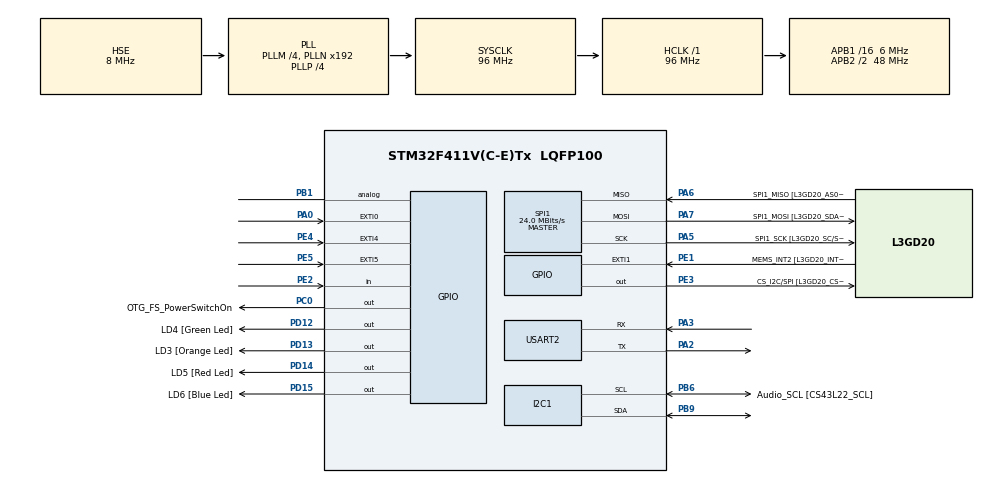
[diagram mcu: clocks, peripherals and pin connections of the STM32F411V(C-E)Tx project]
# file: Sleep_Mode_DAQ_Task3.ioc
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Mcu.Family=STM32F4
Mcu.Name=STM32F411V(C-E)Tx
Mcu.Package=LQFP100
NVIC.EXTI0_IRQn=true\:0\:0\:false\:false\:true\:true
NVIC.EXTI4_IRQn=true\:0\:0\:false\:false\:true\:true
NVIC.PriorityGroup=NVIC_PRIORITYGROUP_1
NVIC.TIM2_IRQn=true\:1\:0\:true\:false\:true\:true
NVIC.TIM3_IRQn=true\:1\:0\:true\:false\:true\:true
NVIC.TIM4_IRQn=true\:1\:0\:true\:false\:true\:true
PA0-WKUP.Signal=GPXTI0
PA13.GPIO_Label=SWDIO
PA13.Signal=SYS_JTMS-SWDIO
PA14.GPIO_Label=SWCLK
PA14.Signal=SYS_JTCK-SWCLK
PA2.Mode=Asynchronous
PA2.Signal=USART2_TX
PA3.Mode=Asynchronous
PA3.Signal=USART2_RX
PA4.GPIO_Label=I2S3_WS [CS43L22_LRCK]
PA4.GPIO_Mode=GPIO_MODE_AF_PP
PA4.GPIO_PuPd=GPIO_NOPULL
PA4.GPIO_Speed=GPIO_SPEED_FREQ_LOW
PA4.Signal=I2S3_WS
PA5.GPIO_Label=SPI1_SCK [L3GD20_SC/SPC]
PA5.Mode=Full_Duplex_Master
PA5.Signal=SPI1_SCK
PA6.GPIO_Label=SPI1_MISO [L3GD20_AS0/SDO]
PA6.Mode=Full_Duplex_Master
PA6.Signal=SPI1_MISO
PA7.GPIO_Label=SPI1_MOSI [L3GD20_SDA/SDI/SDO]
PA7.Mode=Full_Duplex_Master
PA7.Signal=SPI1_MOSI
PB1.Signal=GPIO_Analog
PB10.GPIO_Label=CLK_IN [MP45DT02_CLK]
PB10.Signal=I2S2_CK
PB12.Signal=I2S2_WS
PB3.GPIO_Label=SWO
PB3.Signal=SYS_JTDO-SWO
PB6.GPIO_Label=Audio_SCL [CS43L22_SCL]
PB6.GPIO_Mode=GPIO_MODE_AF_OD
PB6.GPIO_PuPd=GPIO_NOPULL
PB6.GPIO_Speed=GPIO_SPEED_FREQ_LOW
PB6.Mode=I2C
PB6.Signal=I2C1_SCL
PB9.Mode=I2C
PB9.Signal=I2C1_SDA
PC0.GPIO_Label=OTG_FS_PowerSwitchOn
PC0.PinState=GPIO_PIN_SET
PC0.Signal=GPIO_Output
PC14-OSC32_IN.GPIO_Label=PC14-OSC32_IN
PC14-OSC32_IN.Mode=LSE-External-Oscillator
PC14-OSC32_IN.Signal=RCC_OSC32_IN
PC15-OSC32_OUT.GPIO_Label=PC15-OSC32_OUT
PC15-OSC32_OUT.Mode=LSE-External-Oscillator
PC15-OSC32_OUT.Signal=RCC_OSC32_OUT
PC3.GPIO_Label=PDM_OUT [MP45DT02_DOUT]
PC3.Signal=I2S2_SD
PC7.GPIO_Label=I2S3_MCK [CS43L22_MCLK]
PC7.GPIO_Mode=GPIO_MODE_AF_PP
PC7.GPIO_PuPd=GPIO_NOPULL
PC7.GPIO_Speed=GPIO_SPEED_FREQ_LOW
PC7.Signal=I2S3_MCK
PD12.GPIO_Label=LD4 [Green Led]
PD12.GPIO_PuPd=GPIO_NOPULL
PD12.GPIO_Speed=GPIO_SPEED_FREQ_LOW
PD12.Signal=GPIO_Output
PD13.GPIO_Label=LD3 [Orange Led]
PD13.GPIO_PuPd=GPIO_NOPULL
PD13.GPIO_Speed=GPIO_SPEED_FREQ_LOW
PD13.Signal=GPIO_Output
PD14.GPIO_Label=LD5 [Red Led]
PD14.GPIO_PuPd=GPIO_NOPULL
PD14.GPIO_Speed=GPIO_SPEED_FREQ_LOW
PD14.Signal=GPIO_Output
PD15.GPIO_Label=LD6 [Blue Led]
PD15.GPIO_PuPd=GPIO_NOPULL
PD15.GPIO_Speed=GPIO_SPEED_FREQ_LOW
PD15.Signal=GPIO_Output
PE1.GPIO_Label=MEMS_INT2 [L3GD20_INT2]
PE1.GPIO_ModeDefaultEXTI=GPIO_MODE_EVT_RISING
PE1.Signal=GPXTI1
PE2.Signal=GPIO_Input
PE3.GPIO_Label=CS_I2C/SPI [L3GD20_CS_I2C/SPI]
PE3.Signal=GPIO_Output
PE4.GPIO_ModeDefaultEXTI=GPIO_MODE_IT_RISING
PE4.Signal=GPXTI4
PE5.GPIO_ModeDefaultEXTI=GPIO_MODE_EVT_RISING
PE5.Signal=GPXTI5
PH0\ -\ OSC_IN.GPIO_Label=PH0-OSC_IN
PH0\ -\ OSC_IN.Mode=HSE-External-Oscillator
PH0\ -\ OSC_IN.Signal=RCC_OSC_IN
PH1\ -\ OSC_OUT.GPIO_Label=PH1-OSC_OUT
PH1\ -\ OSC_OUT.Mode=HSE-External-Oscillator
PH1\ -\ OSC_OUT.Signal=RCC_OSC_OUT
ProjectManager.HeapSize=0x200
ProjectManager.StackSize=0x400
ProjectManager.TargetToolchain=SW4STM32
RCC.48MHZClocksFreq_Value=48000000
RCC.AHBFreq_Value=96000000
RCC.APB1CLKDivider=RCC_HCLK_DIV16
RCC.APB1Freq_Value=6000000
RCC.APB1TimFreq_Value=12000000
RCC.APB2CLKDivider=RCC_HCLK_DIV2
RCC.APB2Freq_Value=48000000
RCC.APB2TimFreq_Value=96000000
RCC.CortexFreq_Value=96000000
RCC.HCLKFreq_Value=96000000
RCC.HSE_VALUE=8000000
RCC.HSI_VALUE=16000000
RCC.PLLI2SM=5
RCC.PLLI2SN=200
RCC.PLLM=4
RCC.PLLP=RCC_PLLP_DIV4
RCC.PLLQ=8
RCC.PLLSourceVirtual=RCC_PLLSOURCE_HSE
RCC.RCC_RTC_Clock_Source_FROM_HSE=RCC_RTCCLKSOURCE_HSE_DIV30
RCC.SYSCLKFreq_VALUE=96000000
RCC.SYSCLKSource=RCC_SYSCLKSOURCE_PLLCLK
RCC.VCOOutputFreq_Value=384000000
RTC.Date=4
RTC.Format=RTC_FORMAT_BIN
RTC.Hours=17
RTC.Minutes=15
RTC.Month=RTC_MONTH_JULY
RTC.Seconds=12
RTC.StoreOperation=RTC_STOREOPERATION_RESET
RTC.SynchPrediv=250
SPI1.CalculateBaudRate=24.0 MBits/s
SPI1.Direction=SPI_DIRECTION_2LINES
SPI1.Mode=SPI_MODE_MASTER
SPI1.VirtualType=VM_MASTER
TIM2.Period=599999
TIM2.Prescaler=12000
TIM3.ClockDivision=TIM_CLOCKDIVISION_DIV1
TIM3.Period=60000
TIM3.Prescaler=60000
TIM4.ClockDivision=TIM_CLOCKDIVISION_DIV1
TIM4.Period=36000
TIM4.Prescaler=60000
USART2.VirtualMode=VM_ASYNC
VP_RTC_VS_RTC_Activate.Mode=RTC_Enabled
VP_RTC_VS_RTC_Calendar.Mode=RTC_Calendar
VP_TIM2_VS_ClockSourceINT.Mode=Internal
VP_TIM3_VS_ClockSourceINT.Mode=Internal
VP_TIM4_VS_ClockSourceINT.Mode=Internal
board=32F411EDISCOVERY

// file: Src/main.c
/**
  ******************************************************************************
  * @file           : main.c
  * @brief          : Main program body
  ******************************************************************************
  ** This notice applies to any and all portions of this file
  * that are not between comment pairs USER CODE BEGIN and
  * USER CODE END. Other portions of this file, whether
  * inserted by the user or by software development tools
  * are owned by their respective copyright owners.
  *
  * COPYRIGHT(c) 2018 STMicroelectronics
  *
  * Redistribution and use in source and binary forms, with or without modification,
  * are permitted provided that the following conditions are met:
  *   1. Redistributions of source code must retain the above copyright notice,
  *      this list of conditions and the following disclaimer.
  *   2. Redistributions in binary form must reproduce the above copyright notice,
  *      this list of conditions and the following disclaimer in the documentation
  *      and/or other materials provided with the distribution.
  *   3. Neither the name of STMicroelectronics nor the names of its contributors
  *      may be used to endorse or promote products derived from this software
  *      without specific prior written permission.
  *
  * THIS SOFTWARE IS PROVIDED BY THE COPYRIGHT HOLDERS AND CONTRIBUTORS "AS IS"
  * AND ANY EXPRESS OR IMPLIED WARRANTIES, INCLUDING, BUT NOT LIMITED TO, THE
  * IMPLIED WARRANTIES OF MERCHANTABILITY AND FITNESS FOR A PARTICULAR PURPOSE ARE
  * DISCLAIMED. IN NO EVENT SHALL THE COPYRIGHT HOLDER OR CONTRIBUTORS BE LIABLE
  * FOR ANY DIRECT, INDIRECT, INCIDENTAL, SPECIAL, EXEMPLARY, OR CONSEQUENTIAL
  * DAMAGES (INCLUDING, BUT NOT LIMITED TO, PROCUREMENT OF SUBSTITUTE GOODS OR
  * SERVICES; LOSS OF USE, DATA, OR PROFITS; OR BUSINESS INTERRUPTION) HOWEVER
  * CAUSED AND ON ANY THEORY OF LIABILITY, WHETHER IN CONTRACT, STRICT LIABILITY,
  * OR TORT (INCLUDING NEGLIGENCE OR OTHERWISE) ARISING IN ANY WAY OUT OF THE USE
  * OF THIS SOFTWARE, EVEN IF ADVISED OF THE POSSIBILITY OF SUCH DAMAGE.
  *
  ******************************************************************************
  */
#include "main.h"
#include "stm32f4xx_hal.h"
#include "i2c.h"
#include "rtc.h"
#include "spi.h"
#include "tim.h"
#include "usart.h"
#include "gpio.h"

/* USER CODE BEGIN Includes */
#include "LSM303DLHC.h"
/* USER CODE END Includes */

/* USER CODE BEGIN PV */
RTC_TimeTypeDef time;
RTC_DateTypeDef date;
LSM303_A_InitStruct acclInit;
LSM303_M_InitStruct magInit;
uint8_t FLAG = 0;

/* Private variables ---------------------------------------------------------*/

/* USER CODE END PV */

void SystemClock_Config(void);

/* USER CODE BEGIN PFP */
/* Private function prototypes -----------------------------------------------*/
void HAL_TIM_PeriodElapsedCallback(TIM_HandleTypeDef *htim){
	if (htim->Instance == TIM2)
	{
		HAL_RTC_GetTime(&hrtc, &time, RTC_FORMAT_BIN);
		HAL_RTC_GetDate(&hrtc, &date, RTC_FORMAT_BIN);

		HAL_GPIO_TogglePin(GPIOD, GPIO_PIN_12);
		//insert sensor reading here.
		//*
		printf("Z_A: %d.%d.%d, %d:%d:%d. AcclZ: %d \n\r", date.Date,date.Month, date.Year, time.Hours, time.Minutes, time.Seconds,
					LSM303_A_Read_Axis(acclInit.hi2c,acclInit.FS, z_a));
		//*/

	}
	if (htim->Instance == TIM3)
	{
		HAL_RTC_GetTime(&hrtc, &time, RTC_FORMAT_BIN);
		HAL_RTC_GetDate(&hrtc, &date, RTC_FORMAT_BIN);
		HAL_GPIO_TogglePin(GPIOD,GPIO_PIN_13);

		//*
		printf("Z_M: %d.%d.%d, %d:%d:%d. MagZ: %3.2f\n\r",date.Date, date.Month, date.Year, time.Hours, time.Minutes, time.Seconds,
							LSM303_M_Read_Axis(magInit.hi2c, magInit.GN, z_m));
		//*/
		//insert sensor reading here
	}
	if (htim->Instance == TIM4)
	{
		extern LSM303_M_InitStruct magInit;
		HAL_RTC_GetTime(&hrtc, &time, RTC_FORMAT_BIN);
		HAL_RTC_GetDate(&hrtc, &date, RTC_FORMAT_BIN);
		HAL_GPIO_TogglePin(GPIOD,GPIO_PIN_14);
		//*
			printf("Temp: %d.%d.%d, %d:%d:%d. Temp: %3.2f C\n\r",date.Date, date.Month, date.Year, time.Hours, time.Minutes, time.Seconds,
						LSM303_T_ReadTemp(magInit.hi2c));
		//*/
		//insert sensor reading here
	}

}

/* USER CODE END PFP */

int main(void)
{

  /* MCU Configuration----------------------------------------------------------*/

  /* Reset of all peripherals, Initializes the Flash interface and the Systick. */
  HAL_Init();

  /* Configure the system clock */
  SystemClock_Config();

  /* Initialize all configured peripherals */
  MX_GPIO_Init();
  MX_USART2_UART_Init();
  MX_TIM2_Init();
  MX_TIM3_Init();
  MX_TIM4_Init();
  MX_RTC_Init();
  MX_SPI1_Init();
  MX_I2C1_Init();
  /* USER CODE BEGIN 2 */
  acclInit = LSM303_A_CreateInitStruct(&hi2c1);
  acclInit.ODR = ODR_10HZ;
  acclInit.FS = FS_4G;
  LSM303_A_QuickInit(&acclInit);

  magInit = LSM303_M_CreateInitStruct(&hi2c1);
  magInit.DO = DO_15HZ;
  LSM303_M_Init(&magInit);

  LSM303_T_Init(magInit.hi2c);

  HAL_TIM_Base_Start_IT(&htim2);
  HAL_TIM_Base_Start_IT(&htim3);
  HAL_TIM_Base_Start_IT(&htim4);
  //int16_t test;
  /* USER CODE END 2 */

  /* Infinite loop */
  /* USER CODE BEGIN WHILE */
  while (1)
  {
	if (FLAG != 0)
	{
		int16_t results[3];
		HAL_RTC_GetTime(&hrtc, &time, RTC_FORMAT_BIN);
		HAL_RTC_GetDate(&hrtc, &date, RTC_FORMAT_BIN);
		results = LSM303_A_Read_All(acclInit.hi2c, acclInit.FS);
		printf("Inversion Detected! %d.%d.%d, %d:%d:%d. Reading: %d, %d, %d\n\r", date.Date, date.Month, date.Year,
							time.Hours, time.Minutes, time.Seconds, results[0], results[1], results[2]);
		FLAG = 0;
	}
	else
		HAL_PWR_EnterSLEEPMode(PWR_MAINREGULATOR_ON, PWR_SLEEPENTRY_WFI);
	/*
    test = LSM303_T_ReadTemp(magInit.hi2c);
	printf("Test: %d\n\r", test);
	HAL_Delay(1000);
	//*/
  /* USER CODE END WHILE */

  }

}

void SystemClock_Config(void)
{

  RCC_OscInitTypeDef RCC_OscInitStruct;
  RCC_ClkInitTypeDef RCC_ClkInitStruct;
  RCC_PeriphCLKInitTypeDef PeriphClkInitStruct;

    /**Configure the main internal regulator output voltage
    */
  __HAL_RCC_PWR_CLK_ENABLE();

  __HAL_PWR_VOLTAGESCALING_CONFIG(PWR_REGULATOR_VOLTAGE_SCALE1);

    /**Initializes the CPU, AHB and APB busses clocks
    */
  RCC_OscInitStruct.OscillatorType = RCC_OSCILLATORTYPE_LSI|RCC_OSCILLATORTYPE_HSE;
  RCC_OscInitStruct.HSEState = RCC_HSE_ON;
  RCC_OscInitStruct.LSIState = RCC_LSI_ON;
  RCC_OscInitStruct.PLL.PLLState = RCC_PLL_ON;
  RCC_OscInitStruct.PLL.PLLSource = RCC_PLLSOURCE_HSE;
  RCC_OscInitStruct.PLL.PLLM = 4;
  RCC_OscInitStruct.PLL.PLLN = 192;
  RCC_OscInitStruct.PLL.PLLP = RCC_PLLP_DIV4;
  RCC_OscInitStruct.PLL.PLLQ = 8;
  if (HAL_RCC_OscConfig(&RCC_OscInitStruct) != HAL_OK)
  {
    _Error_Handler(__FILE__, __LINE__);
  }

    /**Initializes the CPU, AHB and APB busses clocks
    */
  RCC_ClkInitStruct.ClockType = RCC_CLOCKTYPE_HCLK|RCC_CLOCKTYPE_SYSCLK
                              |RCC_CLOCKTYPE_PCLK1|RCC_CLOCKTYPE_PCLK2;
  RCC_ClkInitStruct.SYSCLKSource = RCC_SYSCLKSOURCE_PLLCLK;
  RCC_ClkInitStruct.AHBCLKDivider = RCC_SYSCLK_DIV1;
  RCC_ClkInitStruct.APB1CLKDivider = RCC_HCLK_DIV16;
  RCC_ClkInitStruct.APB2CLKDivider = RCC_HCLK_DIV2;

  if (HAL_RCC_ClockConfig(&RCC_ClkInitStruct, FLASH_LATENCY_3) != HAL_OK)
  {
    _Error_Handler(__FILE__, __LINE__);
  }

  PeriphClkInitStruct.PeriphClockSelection = RCC_PERIPHCLK_RTC;
  PeriphClkInitStruct.RTCClockSelection = RCC_RTCCLKSOURCE_LSI;
  if (HAL_RCCEx_PeriphCLKConfig(&PeriphClkInitStruct) != HAL_OK)
  {
    _Error_Handler(__FILE__, __LINE__);
  }

    /**Configure the Systick interrupt time
    */
  HAL_SYSTICK_Config(HAL_RCC_GetHCLKFreq()/1000);

    /**Configure the Systick
    */
  HAL_SYSTICK_CLKSourceConfig(SYSTICK_CLKSOURCE_HCLK);

  /* SysTick_IRQn interrupt configuration */
  HAL_NVIC_SetPriority(SysTick_IRQn, 0, 0);
}

/* USER CODE BEGIN 4 */
int _write(int file, char *outgoing, int len) {
   HAL_UART_Transmit(&huart2, outgoing, len, 500);
   return len;
}
/* USER CODE END 4 */

void _Error_Handler(char *file, int line)
{
  while(1)
  {
  }
}

/************************ (C) COPYRIGHT STMicroelectronics *****END OF FILE****/
